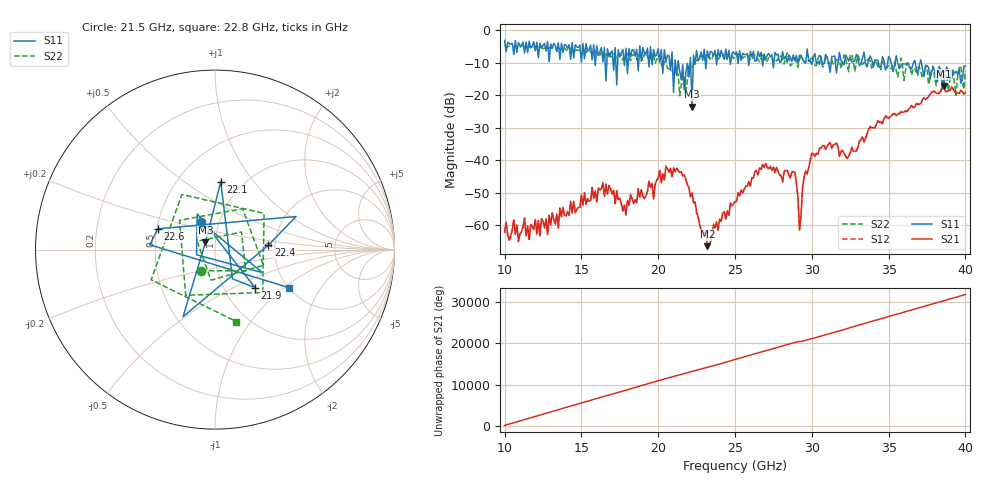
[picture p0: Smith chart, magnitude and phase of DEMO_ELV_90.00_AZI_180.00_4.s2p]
! 11/3/2026 12:31:26 PM
! C:\ANRITSUVNA\TEMP\TEMP.S2P
! CHANNEL.1
! TR.MEASUREMENT
! RAW.DATA
# HZ S RI R 50.0
! FREQ.HZ  S11RE  S11IM  S21RE  S21IM  S12RE  S12IM  S22RE  S22IM
!; PortSelection: Port_12
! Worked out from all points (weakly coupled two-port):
!   301 points, 10 GHz to 40 GHz, reference 50 ohm
!   highest |S21| = -17.12 dB at 38.6 GHz (marker M1); lowest = -66.5 dB at 23.2 GHz (marker M2)
!   lowest |S11| = -23.5 dB at 22.2 GHz (marker M3), VSWR 1.14, Z = 44.8 + j3.6 ohm
!   |S11| at or under -10 dB: 21.32 GHz to 22.07 GHz (755.3 MHz wide, 3.48 % of centre); 35.59 GHz to 36.63 GHz (1.036 GHz wide, 2.87 % of centre); 37.13 GHz to end of sweep (the widest 3 of 41)
!   |S22| runs from -20.1 to -4.7 dB; largest |S21 - S12| = 0.17
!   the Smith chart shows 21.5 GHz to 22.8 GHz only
!   S11 on the Smith chart (normalised r, x): 21.5 GHz: 0.82, +0.26; 21.9 GHz: 1.40, -0.65; 22.1 GHz: 0.79, +0.70; 22.4 GHz: 1.84, +0.10; 22.6 GHz: 0.50, +0.13; 22.8 GHz: 2.01, -1.08
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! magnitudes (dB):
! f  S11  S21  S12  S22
! 10 GHz  -3.1  -62.3  -61.9  -4.7
! 15 GHz  -9.9  -50.6  -50.9  -6.5
! 17.2 GHz  -5.3  -53.4  -53.3  -7.8
! 17.3 GHz  -16.9  -49.5  -49.4  -8.5
! 17.9 GHz  -5.5  -56.9  -56.7  -7.3
! 20 GHz  -5.7  -45.4  -45.6  -7.8
! 21.5 GHz  -15.2  -43.5  -43.5  -17.0
! 21.9 GHz  -10.2  -47.5  -47.8  -15.3
! 22.1 GHz  -8.4  -51.3  -51.1  -11.2
! 22.2 GHz  -23.5  -50.0  -50.3  -11.8
! 22.3 GHz  -7.6  -53.2  -53.2  -10.4
! 22.4 GHz  -10.5  -52.9  -52.7  -8.9
! 22.6 GHz  -9.4  -57.3  -58.0  -8.9
! 22.8 GHz  -6.7  -62.2  -61.4  -7.6
! 23.2 GHz  -6.3  -66.5  -66.2  -7.3
! 25 GHz  -7.5  -52.8  -52.8  -8.3
! 28.8 GHz  -7.6  -43.5  -43.4  -7.9
! 29.2 GHz  -7.8  -61.5  -61.3  -9.0
! 30 GHz  -10.6  -37.9  -37.9  -7.9
! 35 GHz  -8.1  -27.1  -27.0  -10.9
! 38.6 GHz  -16.8  -17.1  -17.1  -15.2
! 40 GHz  -11.1  -19.3  -19.2  -12.4
